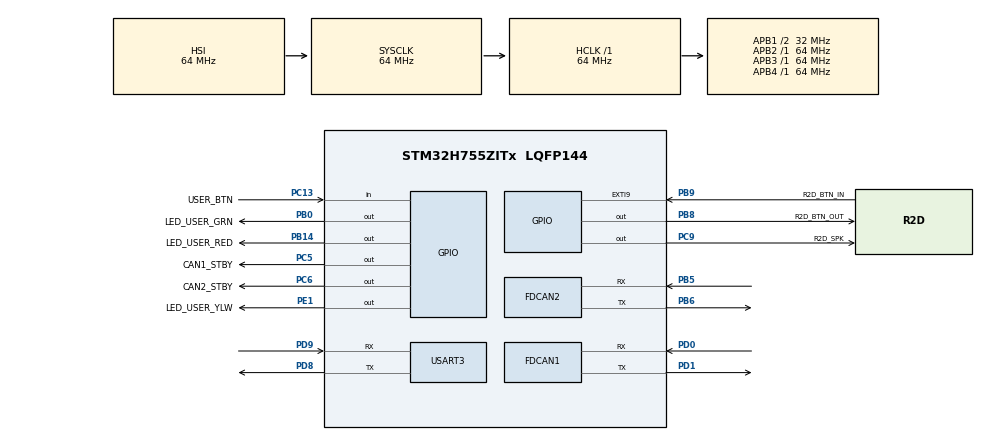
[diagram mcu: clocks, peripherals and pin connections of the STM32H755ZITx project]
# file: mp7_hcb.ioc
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CORTEX_M7.default_mode_Activation=1
CortexM4.IPs=CORTEX_M4\:I,FATFS_M4\:I,FREERTOS_M4\:I,IWDG2\:I,OPENAMP_M4\:I,PDM2PCM_M4\:I,PWR,RCC,RESMGR_UTILITY,SYS_M4\:I,USB_DEVICE_M4\:I,USB_HOST_M4\:I,VREFBUF,WWDG2\:I,GPIO,DMA,BDMA,MDMA,NVIC2\:I
CortexM7.IPs=CORTEX_M7\:I,FATFS_M7\:I,FREERTOS_M7\:I,IWDG1\:I,OPENAMP_M7\:I,PDM2PCM_M7\:I,PWR\:I,RCC\:I,RESMGR_UTILITY\:I,SYS\:I,USB_DEVICE_M7\:I,USB_HOST_M7\:I,VREFBUF\:I,WWDG1\:I,GPIO\:I,DMA\:I,BDMA\:I,MDMA\:I,NVIC1\:I,FDCAN1\:I,FDCAN2\:I,USART3\:I,TIM2\:I
CortexM7.Pins=PC13,PC5,PB0,PB14,PC6,PC9,PB8,PB9,PE1
FDCAN1.AutoRetransmission=ENABLE
FDCAN1.CalculateBaudRateNominal=1000000
FDCAN1.CalculateTimeBitNominal=1000
FDCAN1.CalculateTimeQuantumNominal=25.0
FDCAN1.Mode=FDCAN_MODE_NORMAL
FDCAN1.NominalPrescaler=1
FDCAN1.NominalSyncJumpWidth=6
FDCAN1.NominalTimeSeg1=33
FDCAN1.NominalTimeSeg2=6
FDCAN1.RxFifo0ElmtsNbr=3
FDCAN1.StdFiltersNbr=1
FDCAN1.TxFifoQueueElmtsNbr=3
FDCAN2.AutoRetransmission=ENABLE
FDCAN2.CalculateBaudRateNominal=1000000
FDCAN2.CalculateTimeBitNominal=1000
FDCAN2.CalculateTimeQuantumNominal=25.0
FDCAN2.MessageRAMOffset=1280
FDCAN2.NominalPrescaler=1
FDCAN2.NominalSyncJumpWidth=6
FDCAN2.NominalTimeSeg1=33
FDCAN2.NominalTimeSeg2=6
FDCAN2.RxFifo0ElmtsNbr=3
FDCAN2.StdFiltersNbr=1
FDCAN2.TxFifoQueueElmtsNbr=3
Mcu.Family=STM32H7
Mcu.Name=STM32H755ZITx
Mcu.Package=LQFP144
NVIC1.PriorityGroup=NVIC_PRIORITYGROUP_4
NVIC1.TIM2_IRQn=true\:0\:0\:false\:false\:true\:true\:true\:true
NVIC2.PriorityGroup=NVIC_PRIORITYGROUP_4
PA5.GPIO_Label=SD_SPI_SCK
PA5.PinAttribute=CortexM7
PA5.Signal=SPI1_SCK
PA6.GPIO_Label=SD_SPI_MISO
PA6.PinAttribute=CortexM7
PA6.Signal=SPI1_MISO
PA7.GPIO_Label=SD_SPI_MOSI
PA7.PinAttribute=CortexM7
PA7.Signal=SPI1_MOSI
PB0.GPIO_Label=LED_USER_GRN
PB0.PinAttribute=CortexM7
PB0.Signal=GPIO_Output
PB14.GPIO_Label=LED_USER_RED
PB14.PinAttribute=CortexM7
PB14.Signal=GPIO_Output
PB5.Mode=FDCAN_Activate
PB5.PinAttribute=CortexM7
PB5.Signal=FDCAN2_RX
PB6.Mode=FDCAN_Activate
PB6.PinAttribute=CortexM7
PB6.Signal=FDCAN2_TX
PB8.GPIO_Label=R2D_BTN_OUT
PB8.PinAttribute=CortexM7
PB8.Signal=GPIO_Output
PB9.GPIO_Label=R2D_BTN_IN
PB9.GPIO_ModeDefaultEXTI=GPIO_MODE_IT_RISING
PB9.GPIO_PuPd=GPIO_PULLDOWN
PB9.PinAttribute=CortexM7
PB9.Signal=GPXTI9
PC13.GPIO_Label=USER_BTN
PC13.PinAttribute=CortexM7
PC13.Signal=GPIO_Input
PC5.GPIO_Label=CAN1_STBY
PC5.PinAttribute=CortexM7
PC5.Signal=GPIO_Output
PC6.GPIO_Label=CAN2_STBY
PC6.PinAttribute=CortexM7
PC6.Signal=GPIO_Output
PC9.GPIO_Label=R2D_SPK
PC9.PinAttribute=CortexM7
PC9.Signal=GPIO_Output
PD0.GPIO_Speed=GPIO_SPEED_FREQ_VERY_HIGH
PD0.Mode=FDCAN_Activate
PD0.PinAttribute=CortexM7
PD0.Signal=FDCAN1_RX
PD1.GPIO_Speed=GPIO_SPEED_FREQ_VERY_HIGH
PD1.Mode=FDCAN_Activate
PD1.PinAttribute=CortexM7
PD1.Signal=FDCAN1_TX
PD8.Mode=Asynchronous
PD8.PinAttribute=CortexM7
PD8.Signal=USART3_TX
PD9.Mode=Asynchronous
PD9.PinAttribute=CortexM7
PD9.Signal=USART3_RX
PE1.GPIO_Label=LED_USER_YLW
PE1.PinAttribute=CortexM7
PE1.Signal=GPIO_Output
PH0-OSC_IN\ (PH0).Mode=HSE-External-Clock-Source
PH0-OSC_IN\ (PH0).PinAttribute=Free
PH0-OSC_IN\ (PH0).Signal=RCC_OSC_IN
ProjectManager.HeapSize=M4-0x200,M7-0x200
ProjectManager.StackSize=M4-0x400,M7-0x400
ProjectManager.TargetToolchain=STM32CubeIDE
RCC.ADCFreq_Value=16125000
RCC.APB1Freq_Value=32000000
RCC.APB2Freq_Value=64000000
RCC.APB3Freq_Value=64000000
RCC.APB4Freq_Value=64000000
RCC.CortexFreq_Value=64000000
RCC.D2PPRE1=RCC_APB1_DIV2
RCC.DIVM1=1
RCC.DIVN1=20
RCC.DIVQ1=4
RCC.HCLKFreq_Value=64000000
RCC.HSE_VALUE=8000000
RCC.PLL2FRACN=0
RCC.PLLFRACN=0
RCC.PLLSourceVirtual=RCC_PLLSOURCE_HSE
RCC.SYSCLKFreq_VALUE=64000000
RCC.USBFreq_Value=40000000
SYS.userName=SYS_M7
TIM2.Period=99
TIM2.Prescaler=6399
USART3.VirtualMode-Asynchronous=VM_ASYNC
VP_SYS_M4_VS_Systick.Mode=SysTick
VP_TIM2_VS_ClockSourceINT.Mode=Internal
board=custom

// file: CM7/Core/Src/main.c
/* USER CODE BEGIN Header */
/**
 ******************************************************************************
 * @file           : main.c
 * @brief          : Main program body
 ******************************************************************************
 * @attention
 *
 * Copyright (c) 2026 STMicroelectronics.
 * All rights reserved.
 *
 * This software is licensed under terms that can be found in the LICENSE file
 * in the root directory of this software component.
 * If no LICENSE file comes with this software, it is provided AS-IS.
 *
 ******************************************************************************
 */
/* USER CODE END Header */
#include <CO_app_STM32.h>
#include "main.h"
#include "fdcan.h"
#include "tim.h"
#include "usart.h"
#include "gpio.h"

/* USER CODE BEGIN Includes */
#include <stdio.h>
#include <string.h>
#include <stdbool.h>
#include <stdarg.h>
#include "mp7_fdcan.h"
#include "mp7_hcb.h"

#include "301/CO_NMT_Heartbeat.h"
#include "CANopen.h"
/* USER CODE END Includes */

/* USER CODE BEGIN PD */

#define CANOPEN_HCB_INIT_OK 0

/* DUAL_CORE_BOOT_SYNC_SEQUENCE: Define for dual core boot synchronization    */
/*                             demonstration code based on hardware semaphore */
/* This define is present in both CM7/CM4 projects                            */
/* To comment when developping/debugging on a single core                     */
// #define DUAL_CORE_BOOT_SYNC_SEQUENCE

#if defined(DUAL_CORE_BOOT_SYNC_SEQUENCE)
#ifndef HSEM_ID_0
#define HSEM_ID_0 (0U) /* HW semaphore 0*/
#endif
#endif /* DUAL_CORE_BOOT_SYNC_SEQUENCE */

/* USER CODE END PD */

/* USER CODE BEGIN PV */

// R2D flag
static bool readyToDrive = false;
// Slow watchdog timer tick flag
volatile uint32_t slow_tx_tick = 0U;
/* USER CODE END PV */

void SystemClock_Config(void);
static void MPU_Config(void);
/* USER CODE BEGIN PFP */

void MP7_printf(const char *fmt, ...)
{
  static char buffer[256];
  va_list args;
  va_start(args, fmt);
  vsnprintf(buffer, sizeof(buffer), fmt, args);
  va_end(args);

  int len = strlen(buffer);
  HAL_UART_Transmit(&huart3, (uint8_t *)buffer, len, -1);
}

/* USER CODE END PFP */

int main(void)
{

/* USER CODE BEGIN Boot_Mode_Sequence_0 */
#if defined(DUAL_CORE_BOOT_SYNC_SEQUENCE)
  int32_t timeout;
#endif /* DUAL_CORE_BOOT_SYNC_SEQUENCE */
       /* USER CODE END Boot_Mode_Sequence_0 */

  /* MPU Configuration--------------------------------------------------------*/
  MPU_Config();

/* USER CODE BEGIN Boot_Mode_Sequence_1 */
#if defined(DUAL_CORE_BOOT_SYNC_SEQUENCE)
  /* Wait until CPU2 boots and enters in stop mode or timeout*/
  timeout = 0xFFFF;
  while ((__HAL_RCC_GET_FLAG(RCC_FLAG_D2CKRDY) != RESET) && (timeout-- > 0))
    ;
  if (timeout < 0)
  {
    Error_Handler();
  }
#endif /* DUAL_CORE_BOOT_SYNC_SEQUENCE */
       /* USER CODE END Boot_Mode_Sequence_1 */
  /* MCU Configuration--------------------------------------------------------*/

  /* Reset of all peripherals, Initializes the Flash interface and the Systick. */
  HAL_Init();

  /* Configure the system clock */
  SystemClock_Config();
/* USER CODE BEGIN Boot_Mode_Sequence_2 */
#if defined(DUAL_CORE_BOOT_SYNC_SEQUENCE)
  /* When system initialization is finished, Cortex-M7 will release Cortex-M4 by means of
  HSEM notification */
  /*HW semaphore Clock enable*/
  __HAL_RCC_HSEM_CLK_ENABLE();
  /*Take HSEM */
  HAL_HSEM_FastTake(HSEM_ID_0);
  /*Release HSEM in order to notify the CPU2(CM4)*/
  HAL_HSEM_Release(HSEM_ID_0, 0);
  /* wait until CPU2 wakes up from stop mode */
  timeout = 0xFFFF;
  while ((__HAL_RCC_GET_FLAG(RCC_FLAG_D2CKRDY) == RESET) && (timeout-- > 0))
    ;
  if (timeout < 0)
  {
    Error_Handler();
  }
#endif /* DUAL_CORE_BOOT_SYNC_SEQUENCE */
       /* USER CODE END Boot_Mode_Sequence_2 */

  /* Initialize all configured peripherals */
  MX_GPIO_Init();
  MX_FDCAN1_Init();
  MX_FDCAN2_Init();
  MX_USART3_UART_Init();
  MX_TIM2_Init();
  /* USER CODE BEGIN 2 */

  HCB_Init();
  MP7_printf("\r\nInititialization");

  // start slow watchdog timer
  if (HAL_TIM_Base_Start_IT(&htim2) != HAL_OK)
  {
    Error_Handler();
  }

  CANopenNodeSTM32 canopenNodeSTM32;
  canopenNodeSTM32.CANHandle = &hfdcan1;
  canopenNodeSTM32.HWInitFunction = MX_FDCAN1_Init;
  canopenNodeSTM32.timerHandle = &htim2;
  canopenNodeSTM32.desiredNodeID = 2;
  canopenNodeSTM32.baudrate = 1000;
  if (canopen_app_init(&canopenNodeSTM32) != CANOPEN_HCB_INIT_OK)
  {
    Error_Handler();
  }

  // SEVCON init
  // Configure the Sevcon safety limits and put them into a Sevcon_SafetyLimits_t structure
  Sevcon_SafetyLimits_t limits; // edit this structure with your desired safety limits
  if (Sevcon_Init(&sevcon, canopenNodeSTM32.canOpenStack, sevcon_node_id, &limits) != SEVCON_OK)
  {
    Error_Handler();
  }

  // wait for ready to drive button to be pressed before starting the main loop
  while (!readyToDrive)
  {
    // process the
    canopen_app_process();
  }
  // register the R2D broadcast message for periodic transmission
  HCB_RegisterR2DPeriodicTransmit();

  /* USER CODE END 2 */

  /* Infinite loop */
  /* USER CODE BEGIN WHILE */
  while (1)
  {
    canopen_app_process();

    // Check if the slow transmit tick has occurred
    if (slow_tx_tick > 0U)
    {
      uint32_t now_ms = HAL_GetTick();

      // disable interrupts while decrementing the slow_tx_tick to avoid race conditions
      __disable_irq();
      // decrement the slow_tx_tick
      slow_tx_tick--;
      __enable_irq();

      // Process periodic TX
      MP7_FDCAN_ProcessPeriodicMessages(&hfdcan1, now_ms);

      // Process RX watchdogs
      MP7_FDCAN_CheckWatchdogs(now_ms);
    }

    // Process all pending received CAN messages
    MP7_FDCAN_ProcessRxMessages(&hfdcan1,
                                FDCAN_RX_FIFO0,
                                HCB_HandleCANRxMessage,
                                HAL_GetTick());
    /* USER CODE END WHILE */

  }
}

void SystemClock_Config(void)
{
  RCC_OscInitTypeDef RCC_OscInitStruct = {0};
  RCC_ClkInitTypeDef RCC_ClkInitStruct = {0};

  /** Supply configuration update enable
   */
  HAL_PWREx_ConfigSupply(PWR_DIRECT_SMPS_SUPPLY);

  /** Configure the main internal regulator output voltage
   */
  __HAL_PWR_VOLTAGESCALING_CONFIG(PWR_REGULATOR_VOLTAGE_SCALE3);

  while (!__HAL_PWR_GET_FLAG(PWR_FLAG_VOSRDY))
  {
  }

  /** Initializes the RCC Oscillators according to the specified parameters
   * in the RCC_OscInitTypeDef structure.
   */
  RCC_OscInitStruct.OscillatorType = RCC_OSCILLATORTYPE_HSI | RCC_OSCILLATORTYPE_HSE;
  RCC_OscInitStruct.HSEState = RCC_HSE_BYPASS;
  RCC_OscInitStruct.HSIState = RCC_HSI_DIV1;
  RCC_OscInitStruct.HSICalibrationValue = RCC_HSICALIBRATION_DEFAULT;
  RCC_OscInitStruct.PLL.PLLState = RCC_PLL_ON;
  RCC_OscInitStruct.PLL.PLLSource = RCC_PLLSOURCE_HSE;
  RCC_OscInitStruct.PLL.PLLM = 1;
  RCC_OscInitStruct.PLL.PLLN = 20;
  RCC_OscInitStruct.PLL.PLLP = 2;
  RCC_OscInitStruct.PLL.PLLQ = 4;
  RCC_OscInitStruct.PLL.PLLR = 2;
  RCC_OscInitStruct.PLL.PLLRGE = RCC_PLL1VCIRANGE_3;
  RCC_OscInitStruct.PLL.PLLVCOSEL = RCC_PLL1VCOMEDIUM;
  RCC_OscInitStruct.PLL.PLLFRACN = 0;
  if (HAL_RCC_OscConfig(&RCC_OscInitStruct) != HAL_OK)
  {
    Error_Handler();
  }

  /** Initializes the CPU, AHB and APB buses clocks
   */
  RCC_ClkInitStruct.ClockType = RCC_CLOCKTYPE_HCLK | RCC_CLOCKTYPE_SYSCLK | RCC_CLOCKTYPE_PCLK1 | RCC_CLOCKTYPE_PCLK2 | RCC_CLOCKTYPE_D3PCLK1 | RCC_CLOCKTYPE_D1PCLK1;
  RCC_ClkInitStruct.SYSCLKSource = RCC_SYSCLKSOURCE_HSI;
  RCC_ClkInitStruct.SYSCLKDivider = RCC_SYSCLK_DIV1;
  RCC_ClkInitStruct.AHBCLKDivider = RCC_HCLK_DIV1;
  RCC_ClkInitStruct.APB3CLKDivider = RCC_APB3_DIV1;
  RCC_ClkInitStruct.APB1CLKDivider = RCC_APB1_DIV2;
  RCC_ClkInitStruct.APB2CLKDivider = RCC_APB2_DIV1;
  RCC_ClkInitStruct.APB4CLKDivider = RCC_APB4_DIV1;

  if (HAL_RCC_ClockConfig(&RCC_ClkInitStruct, FLASH_LATENCY_1) != HAL_OK)
  {
    Error_Handler();
  }
}

/* USER CODE BEGIN 4 */

// tim2 watchdog callback
void HAL_TIM_PeriodElapsedCallback(TIM_HandleTypeDef *htim)
{
  if (htim->Instance == TIM2)
  {
    slow_tx_tick++;
  }
}

// EXTI callback for the r2d button
void HAL_GPIO_EXTI_Callback(uint16_t GPIO_Pin)
{
  if (GPIO_Pin == R2D_BTN_IN_Pin)
  {
    readyToDrive = true;
  }
}
/* USER CODE END 4 */

/* MPU Configuration */

void MPU_Config(void)
{
  MPU_Region_InitTypeDef MPU_InitStruct = {0};

  /* Disables the MPU */
  HAL_MPU_Disable();

  /** Initializes and configures the Region and the memory to be protected
   */
  MPU_InitStruct.Enable = MPU_REGION_ENABLE;
  MPU_InitStruct.Number = MPU_REGION_NUMBER0;
  MPU_InitStruct.BaseAddress = 0x0;
  MPU_InitStruct.Size = MPU_REGION_SIZE_4GB;
  MPU_InitStruct.SubRegionDisable = 0x87;
  MPU_InitStruct.TypeExtField = MPU_TEX_LEVEL0;
  MPU_InitStruct.AccessPermission = MPU_REGION_NO_ACCESS;
  MPU_InitStruct.DisableExec = MPU_INSTRUCTION_ACCESS_DISABLE;
  MPU_InitStruct.IsShareable = MPU_ACCESS_SHAREABLE;
  MPU_InitStruct.IsCacheable = MPU_ACCESS_NOT_CACHEABLE;
  MPU_InitStruct.IsBufferable = MPU_ACCESS_NOT_BUFFERABLE;

  HAL_MPU_ConfigRegion(&MPU_InitStruct);
  /* Enables the MPU */
  HAL_MPU_Enable(MPU_PRIVILEGED_DEFAULT);
}

void Error_Handler(void)
{
  __disable_irq();
  while (1)
  {
  }
}
